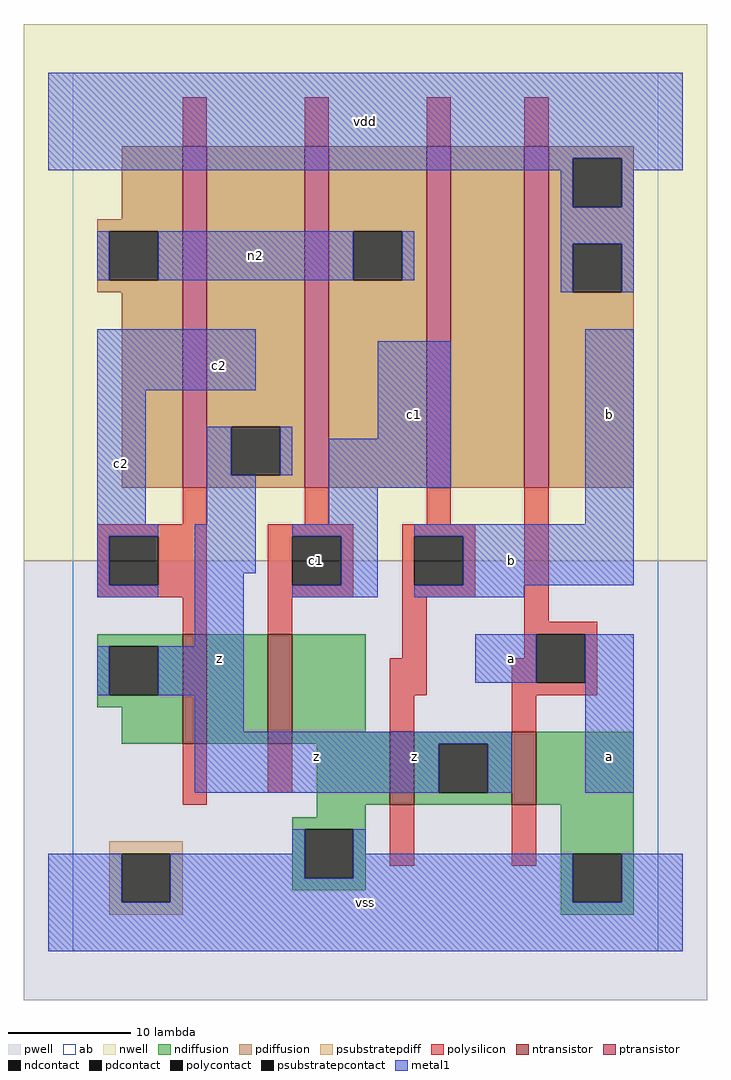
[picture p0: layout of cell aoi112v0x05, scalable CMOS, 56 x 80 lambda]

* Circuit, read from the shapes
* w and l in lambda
.subckt aoi112v0x05 a b c1 c2 n2 vdd vss z
M1 n1 c2 z vss nfet w=9 l=2
M2 vss c1 n1 vss nfet w=9 l=2
M3 z b vss vss nfet w=6 l=2
M4 vss a z vss nfet w=6 l=2
M5 z c2 n2 n3 pfet w=28 l=2
M6 n2 c1 z n3 pfet w=28 l=2
M7 n4 b n2 n3 pfet w=28 l=2
M8 vdd a n4 n3 pfet w=28 l=2
.ends

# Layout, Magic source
magic
tech scmos
<< ab >>
rect 0 0 48 72
<< pwell >>
rect -4 -4 52 32
<< nwell >>
rect -4 32 52 76
<< polysilicon >>
rect 9 66 11 70
rect 19 66 21 70
rect 29 66 31 70
rect 37 66 39 70
rect 9 35 11 38
rect 19 35 21 38
rect 29 35 31 38
rect 2 34 11 35
rect 2 30 3 34
rect 7 30 11 34
rect 2 29 11 30
rect 9 26 11 29
rect 16 34 23 35
rect 16 30 18 34
rect 22 30 23 34
rect 16 29 23 30
rect 27 34 33 35
rect 27 30 28 34
rect 32 30 33 34
rect 27 29 33 30
rect 16 26 18 29
rect 27 24 29 29
rect 37 27 39 38
rect 37 26 43 27
rect 37 24 38 26
rect 26 21 29 24
rect 36 22 38 24
rect 42 22 43 26
rect 36 21 43 22
rect 26 18 28 21
rect 36 18 38 21
rect 9 12 11 17
rect 16 13 18 17
rect 26 7 28 12
rect 36 7 38 12
<< ndiffusion >>
rect 2 25 9 26
rect 2 21 3 25
rect 7 21 9 25
rect 2 20 9 21
rect 4 17 9 20
rect 11 17 16 26
rect 18 18 24 26
rect 18 17 26 18
rect 20 12 26 17
rect 28 17 36 18
rect 28 13 30 17
rect 34 13 36 17
rect 28 12 36 13
rect 38 12 46 18
rect 20 11 24 12
rect 18 10 24 11
rect 18 6 19 10
rect 23 6 24 10
rect 40 8 46 12
rect 18 5 24 6
rect 40 4 41 8
rect 45 4 46 8
rect 40 3 46 4
<< pdiffusion >>
rect 4 60 9 66
rect 2 59 9 60
rect 2 55 3 59
rect 7 55 9 59
rect 2 54 9 55
rect 4 38 9 54
rect 11 43 19 66
rect 11 39 13 43
rect 17 39 19 43
rect 11 38 19 39
rect 21 59 29 66
rect 21 55 23 59
rect 27 55 29 59
rect 21 38 29 55
rect 31 38 37 66
rect 39 65 46 66
rect 39 61 41 65
rect 45 61 46 65
rect 39 58 46 61
rect 39 54 41 58
rect 45 54 46 58
rect 39 38 46 54
<< metal1 >>
rect -2 65 50 72
rect -2 64 41 65
rect 40 61 41 64
rect 45 64 50 65
rect 45 61 46 64
rect 2 55 3 59
rect 7 55 23 59
rect 27 55 28 59
rect 40 58 46 61
rect 40 54 41 58
rect 45 54 46 58
rect 2 46 15 51
rect 2 35 6 46
rect 11 39 13 43
rect 17 39 18 43
rect 25 42 31 50
rect 11 35 15 39
rect 21 38 31 42
rect 21 35 25 38
rect 42 35 46 51
rect 2 34 7 35
rect 2 30 3 34
rect 2 29 7 30
rect 10 31 15 35
rect 18 34 25 35
rect 10 25 14 31
rect 22 30 25 34
rect 18 29 25 30
rect 28 34 46 35
rect 32 30 46 34
rect 28 29 37 30
rect 2 21 3 25
rect 7 21 14 25
rect 33 22 38 26
rect 10 18 14 21
rect 10 17 36 18
rect 10 13 30 17
rect 34 13 36 17
rect 42 13 46 26
rect 18 8 19 10
rect -2 4 4 8
rect 8 6 19 8
rect 23 8 24 10
rect 23 6 41 8
rect 8 4 41 6
rect 45 4 50 8
rect -2 0 50 4
<< ntransistor >>
rect 9 17 11 26
rect 16 17 18 26
rect 26 12 28 18
rect 36 12 38 18
<< ptransistor >>
rect 9 38 11 66
rect 19 38 21 66
rect 29 38 31 66
rect 37 38 39 66
<< polycontact >>
rect 3 30 7 34
rect 18 30 22 34
rect 28 30 32 34
rect 38 22 42 26
<< ndcontact >>
rect 3 21 7 25
rect 30 13 34 17
rect 19 6 23 10
rect 41 4 45 8
<< pdcontact >>
rect 3 55 7 59
rect 13 39 17 43
rect 23 55 27 59
rect 41 61 45 65
rect 41 54 45 58
<< psubstratepcontact >>
rect 4 4 8 8
<< psubstratepdiff >>
rect 3 8 9 9
rect 3 4 4 8
rect 8 4 9 8
rect 3 3 9 4
<< labels >>
rlabel metal1 4 40 4 40 6 c2
rlabel metal1 20 16 20 16 6 z
rlabel metal1 12 24 12 24 6 z
rlabel polycontact 20 32 20 32 6 c1
rlabel metal1 12 48 12 48 6 c2
rlabel metal1 24 4 24 4 6 vss
rlabel metal1 28 16 28 16 6 z
rlabel metal1 28 44 28 44 6 c1
rlabel metal1 15 57 15 57 6 n2
rlabel metal1 24 68 24 68 6 vdd
rlabel metal1 44 16 44 16 6 a
rlabel metal1 36 32 36 32 6 b
rlabel metal1 36 24 36 24 6 a
rlabel metal1 44 44 44 44 6 b
<< end >>
